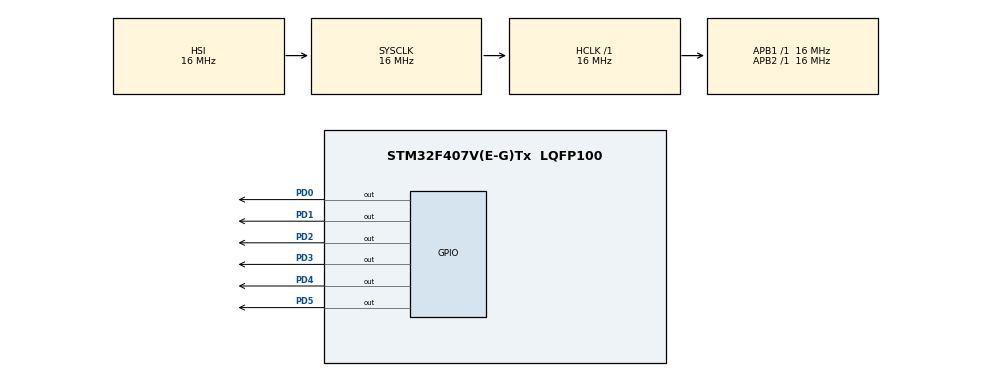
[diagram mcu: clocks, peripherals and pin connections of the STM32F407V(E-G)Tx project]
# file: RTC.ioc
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Mcu.Family=STM32F4
Mcu.Name=STM32F407V(E-G)Tx
Mcu.Package=LQFP100
NVIC.PriorityGroup=NVIC_PRIORITYGROUP_4
PD0.Signal=GPIO_Output
PD1.Signal=GPIO_Output
PD2.Signal=GPIO_Output
PD3.Signal=GPIO_Output
PD4.Signal=GPIO_Output
PD5.Signal=GPIO_Output
ProjectManager.HeapSize=0x200
ProjectManager.StackSize=0x400
ProjectManager.TargetToolchain=STM32CubeIDE
RCC.AHBFreq_Value=16000000
RCC.APB1Freq_Value=16000000
RCC.APB2Freq_Value=16000000
RCC.CortexFreq_Value=16000000
RCC.HSE_VALUE=25000000
RCC.HSI_VALUE=16000000
RCC.LSE_VALUE=32768
RCC.SYSCLKFreq_VALUE=16000000
RCC.VCOOutputFreq_Value=192000000
VP_RTC_VS_RTC_Activate.Mode=RTC_Enabled
VP_RTC_VS_RTC_Calendar.Mode=RTC_Calendar
board=custom

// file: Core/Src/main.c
/* USER CODE BEGIN Header */
/**
  ******************************************************************************
  * @file           : main.c
  * @brief          : Main program body
  ******************************************************************************
  * @attention
  *
  * Copyright (c) 2025 STMicroelectronics.
  * All rights reserved.
  *
  * This software is licensed under terms that can be found in the LICENSE file
  * in the root directory of this software component.
  * If no LICENSE file comes with this software, it is provided AS-IS.
  *
  ******************************************************************************
  */
/* USER CODE END Header */
#include "main.h"

/* USER CODE BEGIN PM */
// Define LCD pins (Modify if using different GPIO)
#define RS_PIN     GPIO_PIN_1
#define RS_PORT    GPIOD
#define EN_PIN     GPIO_PIN_0
#define EN_PORT    GPIOD
#define D4_PIN     GPIO_PIN_2
#define D5_PIN     GPIO_PIN_3
#define D6_PIN     GPIO_PIN_4
#define D7_PIN     GPIO_PIN_5
#define DATA_PORT  GPIOD

/* USER CODE END PM */

RTC_HandleTypeDef hrtc;

/* USER CODE BEGIN PV */
RTC_TimeTypeDef sTime;
RTC_DateTypeDef sDate;
/* USER CODE END PV */

void SystemClock_Config(void);
static void MX_GPIO_Init(void);
static void MX_RTC_Init(void);

/* USER CODE BEGIN 0 */
char buffer[16];
void LCD_EnablePulse(void);
void LCD_Send4Bits(uint8_t data);
void LCD_Command(uint8_t cmd);
// Initialize LCD
void LCD_Init(void) {
    HAL_Delay(20); // Wait for power stabilization

    LCD_Command(0x02); // Set 4-bit mode
    LCD_Command(0x28); // 2-line, 5x8 matrix
    LCD_Command(0x0C); // Display ON, Cursor OFF
    LCD_Command(0x06); // Auto increment cursor
    LCD_Command(0x01); // Clear display
    HAL_Delay(2);
}

// Send command to LCD
void LCD_Command(uint8_t cmd) {
    HAL_GPIO_WritePin(RS_PORT, RS_PIN, GPIO_PIN_RESET); // RS = 0 (Command mode)

    LCD_Send4Bits(cmd >> 4); // Send upper nibble
    LCD_Send4Bits(cmd);      // Send lower nibble
}

// Send character to LCD
void LCD_Char(uint8_t data) {
    HAL_GPIO_WritePin(RS_PORT, RS_PIN, GPIO_PIN_SET); // RS = 1 (Data mode)

    LCD_Send4Bits(data >> 4); // Send upper nibble
    LCD_Send4Bits(data);      // Send lower nibble
}

// Send string to LCD
void LCD_String(char *str) {
    while (*str) {
        LCD_Char(*str++);
    }
}

// Set cursor position
void LCD_SetCursor(uint8_t row, uint8_t col) {
    uint8_t pos = (row == 0) ? (0x80 + col) : (0xC0 + col);
    LCD_Command(pos);
}

// Clear LCD display
void LCD_Clear(void) {
    LCD_Command(0x01);
    HAL_Delay(2);
}

// Send 4-bit data
void LCD_Send4Bits(uint8_t data) {
    HAL_GPIO_WritePin(DATA_PORT, D4_PIN, (data >> 0) & 0x01);
    HAL_GPIO_WritePin(DATA_PORT, D5_PIN, (data >> 1) & 0x01);
    HAL_GPIO_WritePin(DATA_PORT, D6_PIN, (data >> 2) & 0x01);
    HAL_GPIO_WritePin(DATA_PORT, D7_PIN, (data >> 3) & 0x01);

    LCD_EnablePulse();
}

// Generate Enable Pulse
void LCD_EnablePulse(void) {
    HAL_GPIO_WritePin(EN_PORT, EN_PIN, GPIO_PIN_SET);
    HAL_Delay(1);
    HAL_GPIO_WritePin(EN_PORT, EN_PIN, GPIO_PIN_RESET);
    HAL_Delay(1);
}

//RTC Init
void RTC_Init(void) {
    // Set Time: 8:40:00
    sTime.Hours = 8;
    sTime.Minutes = 40;
    sTime.Seconds = 0;
    sTime.TimeFormat = RTC_HOURFORMAT_24;

    if (HAL_RTC_SetTime(&hrtc, &sTime, RTC_FORMAT_BIN) != HAL_OK) {
        Error_Handler();
    }

    // Set Date: 09-03-2025 (DD-MM-YYYY)
    sDate.WeekDay = RTC_WEEKDAY_SUNDAY;
    sDate.Month = RTC_MONTH_MARCH;
    sDate.Date = 9;
    sDate.Year = 25;  // 2025 (Year = 2000 + Value)

    if (HAL_RTC_SetDate(&hrtc, &sDate, RTC_FORMAT_BIN) != HAL_OK) {
        Error_Handler();
    }
}
//Display RTC value in LCD
void RTC_DisplayTimeOnLCD(void) {
    char buffer[20];

    // Read Time
    HAL_RTC_GetTime(&hrtc, &sTime, RTC_FORMAT_BIN);
    HAL_RTC_GetDate(&hrtc, &sDate, RTC_FORMAT_BIN);

    // Format Time as HH:MM:SS
    sprintf(buffer, "Time: %02d:%02d:%02d", sTime.Hours, sTime.Minutes, sTime.Seconds);
    LCD_SetCursor(0, 0);  // Set LCD cursor to first row
    LCD_String(buffer);

    // Format Date as DD-MM-YYYY
    sprintf(buffer, "Date: %02d-%02d-20%02d", sDate.Date, sDate.Month, sDate.Year);
    LCD_SetCursor(1, 0);  // Set LCD cursor to second row
    LCD_String(buffer);
}
/* USER CODE END 0 */

int main(void)
{

  /* MCU Configuration--------------------------------------------------------*/

  /* Reset of all peripherals, Initializes the Flash interface and the Systick. */
  HAL_Init();

  /* Configure the system clock */
  SystemClock_Config();

  /* Initialize all configured peripherals */
  MX_GPIO_Init();
  MX_RTC_Init();
  /* USER CODE BEGIN 2 */
	LCD_Init(); // Initialize LCD
	LCD_SetCursor(0, 0);
	LCD_String("RTC");
	HAL_Delay(1000);
	LCD_Clear();
	RTC_Init();  // Set RTC time & date (only run once)

  /* USER CODE END 2 */

  /* Infinite loop */
  while (1)
  {

    /* USER CODE BEGIN 3 */
		RTC_DisplayTimeOnLCD();
		HAL_Delay(1000); // Update every 1 second
  }
  /* USER CODE END 3 */
}

void SystemClock_Config(void)
{
  RCC_OscInitTypeDef RCC_OscInitStruct = {0};
  RCC_ClkInitTypeDef RCC_ClkInitStruct = {0};

  /** Configure the main internal regulator output voltage
  */
  __HAL_RCC_PWR_CLK_ENABLE();
  __HAL_PWR_VOLTAGESCALING_CONFIG(PWR_REGULATOR_VOLTAGE_SCALE1);

  /** Initializes the RCC Oscillators according to the specified parameters
  * in the RCC_OscInitTypeDef structure.
  */
  RCC_OscInitStruct.OscillatorType = RCC_OSCILLATORTYPE_HSI|RCC_OSCILLATORTYPE_LSI;
  RCC_OscInitStruct.HSIState = RCC_HSI_ON;
  RCC_OscInitStruct.HSICalibrationValue = RCC_HSICALIBRATION_DEFAULT;
  RCC_OscInitStruct.LSIState = RCC_LSI_ON;
  RCC_OscInitStruct.PLL.PLLState = RCC_PLL_NONE;
  if (HAL_RCC_OscConfig(&RCC_OscInitStruct) != HAL_OK)
  {
    Error_Handler();
  }

  /** Initializes the CPU, AHB and APB buses clocks
  */
  RCC_ClkInitStruct.ClockType = RCC_CLOCKTYPE_HCLK|RCC_CLOCKTYPE_SYSCLK
                              |RCC_CLOCKTYPE_PCLK1|RCC_CLOCKTYPE_PCLK2;
  RCC_ClkInitStruct.SYSCLKSource = RCC_SYSCLKSOURCE_HSI;
  RCC_ClkInitStruct.AHBCLKDivider = RCC_SYSCLK_DIV1;
  RCC_ClkInitStruct.APB1CLKDivider = RCC_HCLK_DIV1;
  RCC_ClkInitStruct.APB2CLKDivider = RCC_HCLK_DIV1;

  if (HAL_RCC_ClockConfig(&RCC_ClkInitStruct, FLASH_LATENCY_0) != HAL_OK)
  {
    Error_Handler();
  }
}

static void MX_RTC_Init(void)
{

  RTC_TimeTypeDef sTime = {0};
  RTC_DateTypeDef sDate = {0};

  /** Initialize RTC Only
  */
  hrtc.Instance = RTC;
  hrtc.Init.HourFormat = RTC_HOURFORMAT_24;
  hrtc.Init.AsynchPrediv = 127;
  hrtc.Init.SynchPrediv = 255;
  hrtc.Init.OutPut = RTC_OUTPUT_DISABLE;
  hrtc.Init.OutPutPolarity = RTC_OUTPUT_POLARITY_HIGH;
  hrtc.Init.OutPutType = RTC_OUTPUT_TYPE_OPENDRAIN;
  if (HAL_RTC_Init(&hrtc) != HAL_OK)
  {
    Error_Handler();
  }

  /** Initialize RTC and set the Time and Date
  */
  sTime.Hours = 0x0;
  sTime.Minutes = 0x0;
  sTime.Seconds = 0x0;
  sTime.DayLightSaving = RTC_DAYLIGHTSAVING_NONE;
  sTime.StoreOperation = RTC_STOREOPERATION_RESET;
  if (HAL_RTC_SetTime(&hrtc, &sTime, RTC_FORMAT_BCD) != HAL_OK)
  {
    Error_Handler();
  }
  sDate.WeekDay = RTC_WEEKDAY_MONDAY;
  sDate.Month = RTC_MONTH_JANUARY;
  sDate.Date = 0x1;
  sDate.Year = 0x0;

  if (HAL_RTC_SetDate(&hrtc, &sDate, RTC_FORMAT_BCD) != HAL_OK)
  {
    Error_Handler();
  }

}

static void MX_GPIO_Init(void)
{
  GPIO_InitTypeDef GPIO_InitStruct = {0};

  /* GPIO Ports Clock Enable */
  __HAL_RCC_GPIOD_CLK_ENABLE();

  /*Configure GPIO pin Output Level */
  HAL_GPIO_WritePin(GPIOD, GPIO_PIN_0|GPIO_PIN_1|GPIO_PIN_2|GPIO_PIN_3
                          |GPIO_PIN_4|GPIO_PIN_5, GPIO_PIN_RESET);

  /*Configure GPIO pins : PD0 PD1 PD2 PD3
                           PD4 PD5 */
  GPIO_InitStruct.Pin = GPIO_PIN_0|GPIO_PIN_1|GPIO_PIN_2|GPIO_PIN_3
                          |GPIO_PIN_4|GPIO_PIN_5;
  GPIO_InitStruct.Mode = GPIO_MODE_OUTPUT_PP;
  GPIO_InitStruct.Pull = GPIO_NOPULL;
  GPIO_InitStruct.Speed = GPIO_SPEED_FREQ_LOW;
  HAL_GPIO_Init(GPIOD, &GPIO_InitStruct);

}

void Error_Handler(void)
{
  __disable_irq();
  while (1)
  {
  }
}
